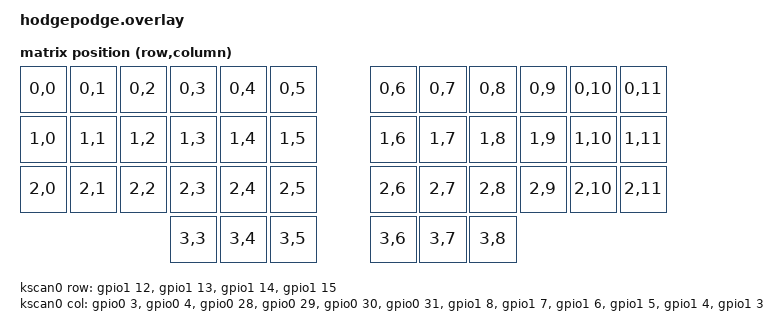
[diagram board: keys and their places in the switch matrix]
#include <dt-bindings/zmk/matrix_transform.h>
#include "hodgepodge-layouts.dtsi"
// #include <dt-bindings/pinctrl/nrf-pinctrl.h>
// #include <dt-bindings/pwm/pwm.h>

/ {
	// chosen {
	// 	zmk,display = &st7789;
	// 	zephyr,display = &st7789;
	// 	zmk,backlight = &backlight;
	// };
	
	// backlight: pwmleds {
	// 	compatible = "pwm-leds";
	// 	pwm_led_0: pwm_led_0 {
	// 		pwms = <&pwm0 0 PWM_MSEC(10) PWM_POLARITY_NORMAL>;
	// 	};
	// };
	
	matrix_transform0: matrix_transform0 {
		compatible = "zmk,matrix-transform";
		columns = <12>;
		rows = <4>;
		map = <
		RC(0,0) RC(0,1) RC(0,2) RC(0,3) RC(0,4) RC(0,5) RC(0,6) RC(0,7) RC(0,8) RC(0,9) RC(0,10) RC(0,11)
		RC(1,0) RC(1,1) RC(1,2) RC(1,3) RC(1,4) RC(1,5) RC(1,6) RC(1,7) RC(1,8) RC(1,9) RC(1,10) RC(1,11)
		RC(2,0) RC(2,1) RC(2,2) RC(2,3) RC(2,4) RC(2,5) RC(2,6) RC(2,7) RC(2,8) RC(2,9) RC(2,10) RC(2,11)
		RC(3,3) RC(3,4) RC(3,5) RC(3,6) RC(3,7) RC(3,8)
		>;
	};
	
	kscan0: kscan_0 {
		compatible = "zmk,kscan-gpio-matrix";
		wakeup-source;
		label = "KSCAN";
		diode-direction = "col2row";
		row-gpios =
		<&gpio1 12 (GPIO_ACTIVE_HIGH | GPIO_PULL_DOWN)>
		, <&gpio1 13 (GPIO_ACTIVE_HIGH | GPIO_PULL_DOWN)>
		, <&gpio1 14 (GPIO_ACTIVE_HIGH | GPIO_PULL_DOWN)>
		, <&gpio1 15 (GPIO_ACTIVE_HIGH | GPIO_PULL_DOWN)>;
		
		col-gpios =
		<&gpio0 3 GPIO_ACTIVE_HIGH>
		, <&gpio0 4 GPIO_ACTIVE_HIGH>
		, <&gpio0 28 GPIO_ACTIVE_HIGH>
		, <&gpio0 29 GPIO_ACTIVE_HIGH>
		, <&gpio0 30 GPIO_ACTIVE_HIGH>
		, <&gpio0 31 GPIO_ACTIVE_HIGH>
		
		, <&gpio1 8 GPIO_ACTIVE_HIGH>
		, <&gpio1 7 GPIO_ACTIVE_HIGH>
		, <&gpio1 6 GPIO_ACTIVE_HIGH>
		, <&gpio1 5 GPIO_ACTIVE_HIGH>
		, <&gpio1 4 GPIO_ACTIVE_HIGH>
		, <&gpio1 3 GPIO_ACTIVE_HIGH>;
	};
};

&physical_layout_hodgepodge {
	kscan = <&kscan0>;
	transform = <&matrix_transform0>;
};


zephyr_udc0: &usbd {
	status = "okay";
};

// Disable screen for now...
// &pinctrl {
// 	spi1_default: spi1_default {
// 		group1 {
// 			psels = <NRF_PSEL(SPIM_SCK, 0, 27)>,
// 			<NRF_PSEL(SPIM_MOSI, 0, 26)>;
// 		};
// 	};

// 	spi1_sleep: spi1_sleep {
// 		group1 {
// 			psels = <NRF_PSEL(SPIM_SCK, 0, 27)>,
// 			<NRF_PSEL(SPIM_MOSI, 0, 26)>;
// 			low-power-enable;
// 		};
// 	};

// 	pwm0_default: pwm0_default {
// 	group1 { psels = <NRF_PSEL(PWM_OUT0, 0, 7)>; };
// 	};

// 	pwm0_sleep: pwm0_sleep {
// 	group1 { psels = <NRF_PSEL(PWM_OUT0, 0, 7)>; low-power-enable; };
// 	};
// };

// &pwm0 {
// 	status = "okay";
// 	pinctrl-0 = <&pwm0_default>;
// 	pinctrl-1 = <&pwm0_sleep>;
// 	pinctrl-names = "default", "sleep";
// };

// &spi1 {
// 	compatible = "nordic,nrf-spim";
// 	status = "okay";
// 	pinctrl-0 = <&spi1_default>;
// 	pinctrl-1 = <&spi1_sleep>;
// 	pinctrl-names = "default", "sleep";

// 	cs-gpios = <&gpio0 8 GPIO_ACTIVE_LOW>;

// 	st7789: st7789v@0 {
// 		compatible = "sitronix,st7789v";
// 		status = "okay";
// 		spi-max-frequency = <4000000>;
// 		reg = <0>;

// 		width = <240>;
// 		height = <240>;
// 		x-offset = <0>;
// 		y-offset = <80>;

// 		reset-gpios = <&gpio0 5 GPIO_ACTIVE_LOW>;
// 		cmd-data-gpios = <&gpio0 6 GPIO_ACTIVE_HIGH>;

// 		/* --- OBLIGATORISKA (Vi behåller dessa!) --- */
// 		gctrl = <0x35>;
// 		vcom = <0x19>;
// 		vrhs = <0x12>;
// 		vdv = <0x20>;
// 		lcm = <0x2c>;
// 		mdac = <0x00>;
// 		gamma = <0x01>;
// 		colmod = <0x55>;

// 		/* --- FRIVILLIGA (Borttagna) --- */
// 		/* porch-param, cmd2en-param osv är borta för att inte förvirra displayen */
// 	};
// };
